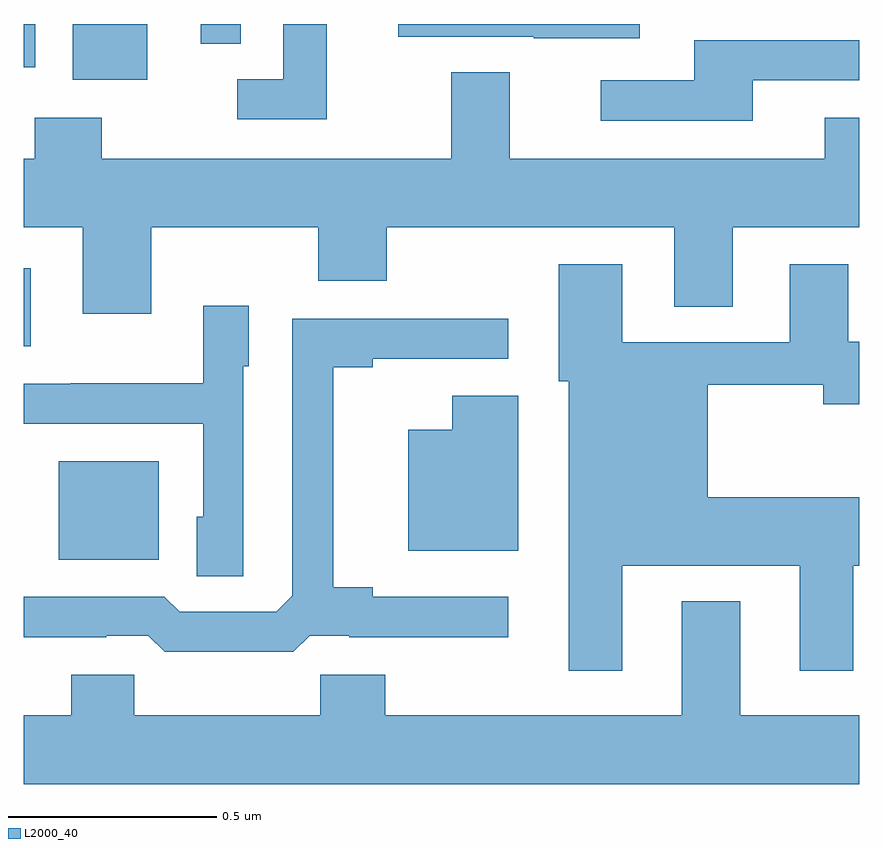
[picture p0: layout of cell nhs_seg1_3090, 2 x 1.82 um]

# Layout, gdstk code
import gdstk
lib = gdstk.Library(unit=1e-6, precision=1e-09)
def R(c, l, rs):  # rectangles x0, y0, x1, y1
    for r in rs: c.add(gdstk.rectangle(r[:2], r[2:], *l))
def P(c, l, *ps):  # polygons
    for p in ps: c.add(gdstk.Polygon(p, *l))
L2000_40 = (2000, 40)

nhs_seg1_3090 = lib.new_cell('nhs_seg1_3090')
R(nhs_seg1_3090, L2000_40, [(149.084,570.917,149.323,571.153), (149,571.428,149.017,571.615), (149.117,572.066,149.296,572.199), (149,572.095,149.028,572.199), (149.424,572.152,149.52,572.199)])
P(nhs_seg1_3090, L2000_40, [(149.725,572.199),(149.621,572.199),(149.621,572.067),(149.511,572.067),(149.511,571.971),(149.725,571.971)],
  [(150.475,572.199),(149.897,572.199),(149.897,572.169),(150.221,572.169),(150.221,572.165),(150.475,572.165)],
  [(150.745,572.064),(151,572.064),(151,572.16),(150.605,572.16),(150.605,572.064),(150.381,572.064),(150.381,571.968),(150.745,571.968)],
  [(149.305,571.712),(149.705,571.712),(149.705,571.584),(149.869,571.584),(149.869,571.712),(150.557,571.712),(150.557,571.522),(150.697,571.522),(150.697,571.712),(151,571.712),(151,571.975),(150.917,571.975),(150.917,571.876),(150.163,571.876),(150.163,572.084),(150.023,572.084),(150.023,571.876),(149.187,571.876),(149.187,571.975),(149.027,571.975),(149.027,571.876),(149,571.876),(149,571.712),(149.141,571.712),(149.141,571.506),(149.305,571.506)],
  [(150.433,570.902),(150.857,570.902),(150.857,570.651),(150.985,570.651),(150.985,570.902),(151,570.902),(151,571.066),(150.637,571.066),(150.637,571.336),(150.914,571.336),(150.914,571.289),(151,571.289),(151,571.438),(150.973,571.438),(150.973,571.624),(150.833,571.624),(150.833,571.437),(150.433,571.437),(150.433,571.624),(150.281,571.624),(150.281,571.344),(150.305,571.344),(150.305,570.651),(150.433,570.651)],
  [(149.526,571.38),(149.539,571.38),(149.539,571.525),(149.43,571.525),(149.43,571.339),(149.113,571.339),(149.113,571.338),(149,571.338),(149,571.242),(149.43,571.242),(149.43,571.02),(149.414,571.02),(149.414,570.877),(149.526,570.877)],
  [(149.685,570.735),(149.779,570.735),(149.779,570.731),(150.16,570.731),(150.16,570.828),(149.836,570.828),(149.836,570.851),(149.741,570.851),(149.741,571.378),(149.836,571.378),(149.836,571.398),(150.16,571.398),(150.16,571.494),(149.643,571.494),(149.643,570.831),(149.604,570.792),(149.373,570.792),(149.337,570.828),(149,570.828),(149,570.731),(149.198,570.731),(149.198,570.735),(149.298,570.735),(149.338,570.696),(149.645,570.696)],
  [(150.184,571.309),(150.026,571.309),(150.026,571.228),(149.921,571.228),(149.921,570.938),(150.184,570.938)],
  [(151,570.544),(150.715,570.544),(150.715,570.817),(150.575,570.817),(150.575,570.544),(149.865,570.544),(149.865,570.642),(149.71,570.642),(149.71,570.544),(149.265,570.544),(149.265,570.642),(149.114,570.642),(149.114,570.544),(149,570.544),(149,570.38),(151,570.38)])

lib.write_gds('nhs_seg1_3090.gds')
